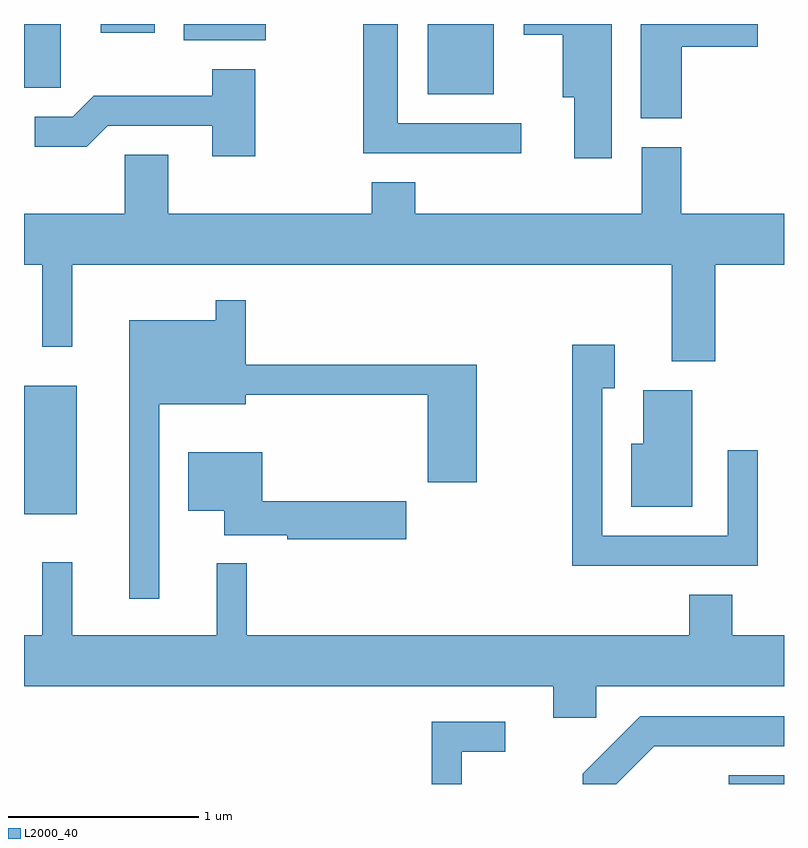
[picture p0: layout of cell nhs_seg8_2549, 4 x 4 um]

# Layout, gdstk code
import gdstk
lib = gdstk.Library(unit=1e-6, precision=1e-09)
def R(c, l, rs):  # rectangles x0, y0, x1, y1
    for r in rs: c.add(gdstk.rectangle(r[:2], r[2:], *l))
def P(c, l, *ps):  # polygons
    for p in ps: c.add(gdstk.Polygon(p, *l))
L2000_40 = (2000, 40)

nhs_seg8_2549 = lib.new_cell('nhs_seg8_2549')
R(nhs_seg8_2549, L2000_40, [(265.321,1840.342,265.611,1840.389), (261.611,1841.761,261.889,1842.439), (263.736,1843.971,264.084,1844.342), (261.611,1844.006,261.804,1844.342), (262.451,1844.256,262.884,1844.342), (262.016,1844.296,262.299,1844.342)])
P(nhs_seg8_2549, L2000_40, [(264.228,1843.819),(263.579,1843.819),(263.579,1844.342),(263.396,1844.342),(263.396,1843.661),(264.228,1843.661)],
  [(265.074,1844.221),(265.474,1844.221),(265.474,1844.342),(264.856,1844.342),(264.856,1843.846),(265.074,1843.846)],
  [(264.704,1844.342),(264.241,1844.342),(264.241,1844.286),(264.446,1844.286),(264.446,1843.956),(264.506,1843.956),(264.506,1843.636),(264.704,1843.636)],
  [(262.829,1844.104),(262.601,1844.104),(262.601,1843.964),(261.979,1843.964),(261.868,1843.854),(261.668,1843.854),(261.668,1843.696),(261.942,1843.696),(262.052,1843.806),(262.601,1843.806),(262.601,1843.646),(262.829,1843.646)],
  [(265.249,1843.076),(265.611,1843.076),(265.611,1843.344),(265.069,1843.344),(265.069,1843.694),(264.861,1843.694),(264.861,1843.344),(263.669,1843.344),(263.669,1843.509),(263.441,1843.509),(263.441,1843.344),(262.369,1843.344),(262.369,1843.654),(262.141,1843.654),(262.141,1843.344),(261.611,1843.344),(261.611,1843.076),(261.706,1843.076),(261.706,1842.643),(261.864,1842.643),(261.864,1843.076),(265.021,1843.076),(265.021,1842.566),(265.249,1842.566)],
  [(262.324,1842.341),(262.779,1842.341),(262.779,1842.391),(263.736,1842.391),(263.736,1841.931),(263.994,1841.931),(263.994,1842.549),(262.779,1842.549),(262.779,1842.888),(262.621,1842.888),(262.621,1842.784),(262.166,1842.784),(262.166,1841.318),(262.324,1841.318)],
  [(265.474,1842.098),(265.316,1842.098),(265.316,1841.649),(264.654,1841.649),(264.654,1842.426),(264.719,1842.426),(264.719,1842.654),(264.496,1842.654),(264.496,1841.491),(265.474,1841.491)],
  [(265.129,1842.414),(264.871,1842.414),(264.871,1842.134),(264.806,1842.134),(264.806,1841.801),(265.129,1841.801)],
  [(263.624,1841.829),(262.864,1841.829),(262.864,1842.089),(262.476,1842.089),(262.476,1841.781),(262.666,1841.781),(262.666,1841.651),(262.996,1841.651),(262.996,1841.631),(263.624,1841.631)],
  [(264.624,1840.856),(265.611,1840.856),(265.611,1841.124),(265.339,1841.124),(265.339,1841.339),(265.111,1841.339),(265.111,1841.124),(262.784,1841.124),(262.784,1841.503),(262.626,1841.503),(262.626,1841.124),(261.864,1841.124),(261.864,1841.508),(261.706,1841.508),(261.706,1841.124),(261.611,1841.124),(261.611,1840.856),(264.396,1840.856),(264.396,1840.691),(264.624,1840.691)],
  [(264.927,1840.541),(265.611,1840.541),(265.611,1840.699),(264.854,1840.699),(264.551,1840.397),(264.551,1840.342),(264.727,1840.342)],
  [(263.914,1840.511),(264.143,1840.511),(264.143,1840.669),(263.756,1840.669),(263.756,1840.342),(263.914,1840.342)])

lib.write_gds('nhs_seg8_2549.gds')
